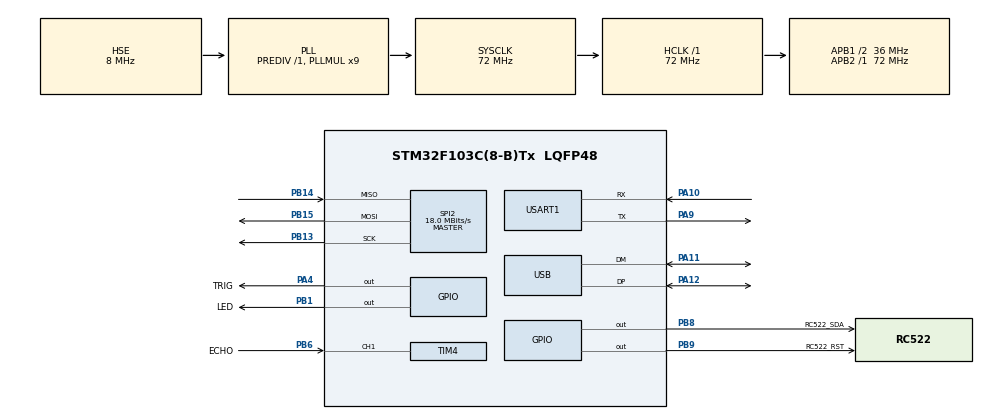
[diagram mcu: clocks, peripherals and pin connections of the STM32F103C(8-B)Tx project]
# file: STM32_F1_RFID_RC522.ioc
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Mcu.Family=STM32F1
Mcu.Name=STM32F103C(8-B)Tx
Mcu.Package=LQFP48
NVIC.PriorityGroup=NVIC_PRIORITYGROUP_4
NVIC.TIM4_IRQn=true\:0\:0\:false\:false\:true\:true\:true\:true
NVIC.USB_HP_CAN1_TX_IRQn=true\:0\:0\:false\:false\:true\:true\:true\:true
NVIC.USB_LP_CAN1_RX0_IRQn=true\:0\:0\:false\:false\:true\:false\:true\:true
PA10.Mode=Asynchronous
PA10.Signal=USART1_RX
PA11.Mode=Device
PA11.Signal=USB_DM
PA12.Mode=Device
PA12.Signal=USB_DP
PA13.Mode=Serial_Wire
PA13.Signal=SYS_JTMS-SWDIO
PA14.Mode=Serial_Wire
PA14.Signal=SYS_JTCK-SWCLK
PA4.GPIO_Label=TRIG
PA4.Signal=GPIO_Output
PA9.Mode=Asynchronous
PA9.Signal=USART1_TX
PB1.GPIO_Label=LED
PB1.PinState=GPIO_PIN_SET
PB1.Signal=GPIO_Output
PB13.Mode=Full_Duplex_Master
PB13.Signal=SPI2_SCK
PB14.Mode=Full_Duplex_Master
PB14.Signal=SPI2_MISO
PB15.Mode=Full_Duplex_Master
PB15.Signal=SPI2_MOSI
PB6.GPIO_Label=ECHO
PB6.Signal=S_TIM4_CH1
PB8.GPIO_Label=RC522_SDA
PB8.GPIO_ModeDefaultOutputPP=GPIO_MODE_OUTPUT_PP
PB8.GPIO_PuPd=GPIO_PULLUP
PB8.GPIO_Speed=GPIO_SPEED_FREQ_HIGH
PB8.Signal=GPIO_Output
PB9.GPIO_Label=RC522_RST
PB9.GPIO_PuPd=GPIO_PULLUP
PB9.GPIO_Speed=GPIO_SPEED_FREQ_HIGH
PB9.Signal=GPIO_Output
PD0-OSC_IN.Mode=HSE-External-Oscillator
PD0-OSC_IN.Signal=RCC_OSC_IN
PD1-OSC_OUT.Mode=HSE-External-Oscillator
PD1-OSC_OUT.Signal=RCC_OSC_OUT
ProjectManager.HeapSize=0x200
ProjectManager.StackSize=0x400
ProjectManager.TargetToolchain=MDK-ARM V5.32
RCC.AHBFreq_Value=72000000
RCC.APB1CLKDivider=RCC_HCLK_DIV2
RCC.APB1Freq_Value=36000000
RCC.APB1TimFreq_Value=72000000
RCC.APB2Freq_Value=72000000
RCC.APB2TimFreq_Value=72000000
RCC.HCLKFreq_Value=72000000
RCC.PLLMUL=RCC_PLL_MUL9
RCC.PLLSourceVirtual=RCC_PLLSOURCE_HSE
RCC.SYSCLKFreq_VALUE=72000000
RCC.SYSCLKSource=RCC_SYSCLKSOURCE_PLLCLK
RCC.USBFreq_Value=48000000
RCC.USBPrescaler=RCC_USBCLKSOURCE_PLL_DIV1_5
SH.S_TIM4_CH1.0=TIM4_CH1,Input_Capture1_from_TI1
SPI2.CalculateBaudRate=18.0 MBits/s
SPI2.Direction=SPI_DIRECTION_2LINES
SPI2.Mode=SPI_MODE_MASTER
SPI2.VirtualType=VM_MASTER
TIM4.Channel-Input_Capture1_from_TI1=TIM_CHANNEL_1
TIM4.Prescaler=72-1
USART1.VirtualMode=VM_ASYNC
USB_DEVICE.CLASS_NAME_FS=HID
USB_DEVICE.PID_HID_FS=20315
USB_DEVICE.VID=1055
USB_DEVICE.VirtualMode=Hid
USB_DEVICE.VirtualModeFS=Hid_FS
VP_USB_DEVICE_VS_USB_DEVICE_HID_FS.Mode=HID_FS
board=custom

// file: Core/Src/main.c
/* USER CODE BEGIN Header */
/**
  ******************************************************************************
  * @file           : main.c
  * @brief          : Main program body
  ******************************************************************************
  * @attention
  *
  * <h2><center>&copy; Copyright (c) 2022 STMicroelectronics.
  * All rights reserved.</center></h2>
  *
  * This software component is licensed by ST under BSD 3-Clause license,
  * the "License"; You may not use this file except in compliance with the
  * License. You may obtain a copy of the License at:
  *                        opensource.org/licenses/BSD-3-Clause
  *
  ******************************************************************************
  */
/* USER CODE END Header */
#include "main.h"
#include "spi.h"
#include "tim.h"
#include "usart.h"
#include "usb_device.h"
#include "gpio.h"

/* USER CODE BEGIN Includes */
#include "stdio.h"
#include "rc522.h"
#include "usbd_hid.h"
#include "hc-sr04.h"
#include "usbd_conf.h"
/* USER CODE END Includes */

/* USER CODE BEGIN PTD */
uint8_t KeyBoard[8] = {0,0,4,0,0,0,0,0};
uint8_t KeyBoard01[8] = {0,0,0,0,0,0,0,0};
extern USBD_HandleTypeDef hUsbDeviceFS;
extern PCD_HandleTypeDef hpcd_USB_FS;
int sign2=0;//来人之后空格按下后锁定，人走后空格启用
int sign1;//人走后win+l，锁定快捷键，人来后快捷键启用
int sign3=0;//消除测距模块抖动
/* USER CODE END PTD */

/* USER CODE BEGIN PV */
void SendHIDReport(uint8_t keyValue) {
    KeyBoard[2] = keyValue;

    USBD_HID_SendReport(&hUsbDeviceFS, (uint8_t*)&KeyBoard01, sizeof(KeyBoard));
    HAL_Delay(15);
    USBD_HID_SendReport(&hUsbDeviceFS, (uint8_t*)&KeyBoard, sizeof(KeyBoard01));
    HAL_Delay(15);
    USBD_HID_SendReport(&hUsbDeviceFS, (uint8_t*)&KeyBoard01, sizeof(KeyBoard));
    HAL_Delay(15);
}

void SendMultipleKeys(uint8_t key1, uint8_t key2) {
    KeyBoard[0] = key1; // 修饰键
    KeyBoard[2] = key2;      // 主键
    USBD_HID_SendReport(&hUsbDeviceFS, KeyBoard, sizeof(KeyBoard));
    HAL_Delay(15);

    // 清除按键状态
    KeyBoard[0] = 0;
    KeyBoard[2] = 0;
    USBD_HID_SendReport(&hUsbDeviceFS, KeyBoard, sizeof(KeyBoard));
    HAL_Delay(15);
}
void password(void)
{
SendHIDReport(44);
HAL_Delay(800);
SendHIDReport(31);
SendHIDReport(31); // 再次发送31
SendHIDReport(32);
SendHIDReport(39);
printf("unlocked!\n");
}

void lock(void)
{
	SendMultipleKeys(0x08,0x0F);
}
void WakeUP() {
        if (hUsbDeviceFS.dev_state == USBD_STATE_SUSPENDED) {
            // 使能远程唤醒
            USBD_LL_RemoteWakeup(&hUsbDeviceFS);
            HAL_Delay(10);
            // 禁用远程唤醒
            HAL_PCD_ActivateRemoteWakeup(&hpcd_USB_FS);
            HAL_Delay(10);
            HAL_PCD_DeActivateRemoteWakeup(&hpcd_USB_FS);
					printf("WakeUP!\n");
        }
}
/* USER CODE END PV */

void SystemClock_Config(void);

int main(void)
{

  /* MCU Configuration--------------------------------------------------------*/

  /* Reset of all peripherals, Initializes the Flash interface and the Systick. */
  HAL_Init();

  /* Configure the system clock */
  SystemClock_Config();

  /* Initialize all configured peripherals */
  MX_GPIO_Init();
  MX_SPI2_Init();
  MX_USB_DEVICE_Init();
  MX_USART1_UART_Init();
  MX_TIM4_Init();
  /* USER CODE BEGIN 2 */
  RC522_Init();
	Hcsr04Init(&htim4, TIM_CHANNEL_1);  //  超声波模块初始化
  Hcsr04Start();  //  开启超声波模块测距
  /* USER CODE END 2 */

  /* Infinite loop */
  /* USER CODE BEGIN WHILE */
  while (1)
  {
		HAL_Delay(500);
		Hcsr04Start();
		if(Hcsr04Read()<=75){
			if(sign==0){
			if(sign2==0&&sign1==1)
			{
				HAL_Delay(100);
				SendHIDReport(44);
				sign2=1;
			}
			ReaderCard();
			sign1=0;
		}
			sign3=0;
		WakeUP();
			printf("sign3=%d humans detected, waiting lock,distance:%.1fcm\n",sign3,Hcsr04Read());
		}
		else if(Hcsr04Read()>75){
			sign3++;
			if(sign3==5)
			{
				printf("sign3=%d locked! distance too far! %.1f\n",sign3,Hcsr04Read());
				sign=0;
				sign2=0;
				if(sign1==0)
				{
					lock();
					sign1=1;
				}
			}
			else if(sign3>10) sign3=10;
		}
		printf("sign3=%d",sign3);
    /* USER CODE END WHILE */

  }
}

void SystemClock_Config(void)
{
  RCC_OscInitTypeDef RCC_OscInitStruct = {0};
  RCC_ClkInitTypeDef RCC_ClkInitStruct = {0};
  RCC_PeriphCLKInitTypeDef PeriphClkInit = {0};

  /** Initializes the RCC Oscillators according to the specified parameters
  * in the RCC_OscInitTypeDef structure.
  */
  RCC_OscInitStruct.OscillatorType = RCC_OSCILLATORTYPE_HSE;
  RCC_OscInitStruct.HSEState = RCC_HSE_ON;
  RCC_OscInitStruct.HSEPredivValue = RCC_HSE_PREDIV_DIV1;
  RCC_OscInitStruct.HSIState = RCC_HSI_ON;
  RCC_OscInitStruct.PLL.PLLState = RCC_PLL_ON;
  RCC_OscInitStruct.PLL.PLLSource = RCC_PLLSOURCE_HSE;
  RCC_OscInitStruct.PLL.PLLMUL = RCC_PLL_MUL9;
  if (HAL_RCC_OscConfig(&RCC_OscInitStruct) != HAL_OK)
  {
    Error_Handler();
  }

  /** Initializes the CPU, AHB and APB buses clocks
  */
  RCC_ClkInitStruct.ClockType = RCC_CLOCKTYPE_HCLK|RCC_CLOCKTYPE_SYSCLK
                              |RCC_CLOCKTYPE_PCLK1|RCC_CLOCKTYPE_PCLK2;
  RCC_ClkInitStruct.SYSCLKSource = RCC_SYSCLKSOURCE_PLLCLK;
  RCC_ClkInitStruct.AHBCLKDivider = RCC_SYSCLK_DIV1;
  RCC_ClkInitStruct.APB1CLKDivider = RCC_HCLK_DIV2;
  RCC_ClkInitStruct.APB2CLKDivider = RCC_HCLK_DIV1;

  if (HAL_RCC_ClockConfig(&RCC_ClkInitStruct, FLASH_LATENCY_2) != HAL_OK)
  {
    Error_Handler();
  }
  PeriphClkInit.PeriphClockSelection = RCC_PERIPHCLK_USB;
  PeriphClkInit.UsbClockSelection = RCC_USBCLKSOURCE_PLL_DIV1_5;
  if (HAL_RCCEx_PeriphCLKConfig(&PeriphClkInit) != HAL_OK)
  {
    Error_Handler();
  }
}

/* USER CODE BEGIN 4 */
/**
 * @description: 定时器输入捕获中断
 * @param {TIM_HandleTypeDef} *htim
 * @return {*}
 */
void HAL_TIM_IC_CaptureCallback(TIM_HandleTypeDef *htim)
{
  Hcsr04TimIcIsr(htim);
}

/**
 * @description: 定时器溢出中断
 * @param {*}
 * @return {*}
 */
void HAL_TIM_PeriodElapsedCallback(TIM_HandleTypeDef *htim)
{
		Hcsr04TimOverflowIsr(htim);
}
/* USER CODE END 4 */

void Error_Handler(void)
{
  __disable_irq();
  while (1)
  {
  }
}
